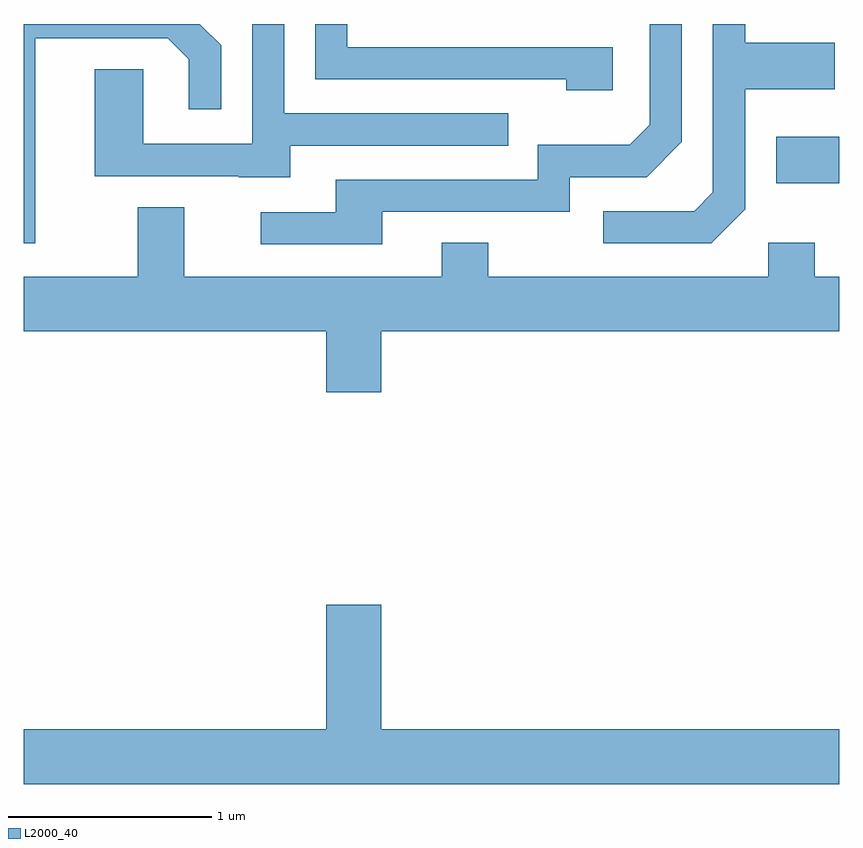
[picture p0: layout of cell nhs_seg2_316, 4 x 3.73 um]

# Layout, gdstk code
import gdstk
lib = gdstk.Library(unit=1e-6, precision=1e-09)
def R(c, l, rs):  # rectangles x0, y0, x1, y1
    for r in rs: c.add(gdstk.rectangle(r[:2], r[2:], *l))
def P(c, l, *ps):  # polygons
    for p in ps: c.add(gdstk.Polygon(p, *l))
L2000_40 = (2000, 40)

nhs_seg2_316 = lib.new_cell('nhs_seg2_316')
R(nhs_seg2_316, L2000_40, [(197.301,1069.021,197.611,1069.249)])
P(nhs_seg2_316, L2000_40, [(197.149,1068.894),(197.149,1069.481),(197.589,1069.481),(197.589,1069.709),(197.149,1069.709),(197.149,1069.802),(196.991,1069.802),(196.991,1068.977),(196.899,1068.884),(196.453,1068.884),(196.453,1068.726),(196.982,1068.726)],
  [(193.669,1069.731),(194.319,1069.731),(194.421,1069.629),(194.421,1069.383),(194.579,1069.383),(194.579,1069.697),(194.474,1069.802),(193.611,1069.802),(193.611,1068.726),(193.669,1068.726)],
  [(194.919,1069.206),(195.988,1069.206),(195.988,1069.364),(194.889,1069.364),(194.889,1069.802),(194.731,1069.802),(194.731,1069.214),(194.199,1069.214),(194.199,1069.579),(193.961,1069.579),(193.961,1069.056),(194.665,1069.056),(194.665,1069.051),(194.919,1069.051)],
  [(196.499,1069.689),(195.199,1069.689),(195.199,1069.802),(195.041,1069.802),(195.041,1069.531),(196.271,1069.531),(196.271,1069.476),(196.499,1069.476)],
  [(195.369,1068.881),(196.289,1068.881),(196.289,1069.051),(196.667,1069.051),(196.839,1069.224),(196.839,1069.802),(196.681,1069.802),(196.681,1069.307),(196.584,1069.209),(196.131,1069.209),(196.131,1069.039),(195.141,1069.039),(195.141,1068.879),(194.773,1068.879),(194.773,1068.721),(195.369,1068.721)],
  [(195.364,1068.296),(197.611,1068.296),(197.611,1068.564),(197.489,1068.564),(197.489,1068.729),(197.261,1068.729),(197.261,1068.564),(195.889,1068.564),(195.889,1068.729),(195.661,1068.729),(195.661,1068.564),(194.399,1068.564),(194.399,1068.904),(194.171,1068.904),(194.171,1068.564),(193.611,1068.564),(193.611,1068.296),(195.096,1068.296),(195.096,1067.996),(195.364,1067.996)],
  [(197.611,1066.344),(195.364,1066.344),(195.364,1066.954),(195.096,1066.954),(195.096,1066.344),(193.611,1066.344),(193.611,1066.076),(197.611,1066.076)])

lib.write_gds('nhs_seg2_316.gds')
